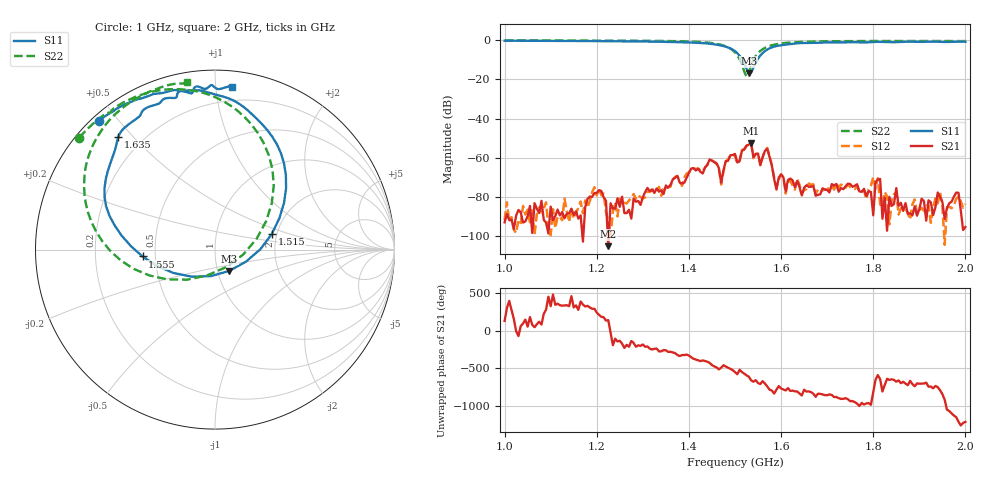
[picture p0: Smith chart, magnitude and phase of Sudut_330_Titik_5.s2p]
# Hz S RI R 50
! CMT, C1220, 16058040, 17.2.0/1
! Date: 14/08/2018 11:51:30
! Data: Format (Calibration Info)
! Freq  S11: Re/Im (F2)  S21: Re/Im (F2)  S12: Re/Im (F2)  S22: Re/Im (F2)
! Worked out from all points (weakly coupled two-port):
!   201 points, 1 GHz to 2 GHz, reference 50 ohm
!   highest |S21| = -52.52 dB at 1.535 GHz (marker M1); lowest = -105.1 dB at 1.225 GHz (marker M2)
!   lowest |S11| = -16.9 dB at 1.53 GHz (marker M3), VSWR 1.33, Z = 56.9 - j13.8 ohm
!   |S11| at or under -10 dB: 1.516 GHz to 1.549 GHz (32.94 MHz wide, 2.15 % of centre)
!   |S22| runs from -18.7 to -0.2 dB; largest |S21 - S12| = 0.00041
!   S11 on the Smith chart (normalised r, x): 1 GHz: 0.02, +0.44; 1.515 GHz: 1.88, +0.36; 1.555 GHz: 0.42, -0.04; 1.635 GHz: 0.11, +0.46; 2 GHz: 0.11, +1.11
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1e9  -0.6482 0.715  -1.45e-05 1.73e-05  2.45e-05 -8.51e-06  -0.7554 0.6238
1.17e9  -0.4703 0.8223  7.05e-06 -1.7e-06  2.25e-05 -3.11e-05  -0.6186 0.75
1.225e9  -0.3967 0.8466  -4.26e-06 3.57e-06  2.3e-05 6.96e-06  -0.5685 0.7825
1.335e9  -0.2072 0.8872  8.51e-06 0.000136  -3.3e-05 0.000178  -0.4018 0.8655
1.445e9  0.1587 0.795  0.000366 -0.000834  0.000273 -0.000805  -0.0107 0.8541
1.47e9  0.2906 0.6664  -0.000146 -0.00018  -0.000102 -0.000181  0.1617 0.7415
1.48e9  0.3462 0.5844  -0.000334 -0.000748  -0.000281 -0.00076  0.2367 0.6526
1.5e9  0.3961 0.3428  -0.00124 0.000172  -0.00114 0.000196  0.3273 0.3559
1.515e9  0.3162 0.0865  -0.00149 0.000208  -0.00158 0.000171  0.2321 0.0605
1.53e9  0.0802 -0.1184  -0.000759 0.00202  -0.000744 0.00204  -0.0441 -0.144
1.535e9  -0.0226 -0.1477  0.00107 0.00211  0.0011 0.00206  -0.1555 -0.1677
1.555e9  -0.4035 -0.0383  0.000627 0.000157  0.000621 0.000207  -0.5267 -0.059
1.57e9  -0.5584 0.1335  0.00158 -0.000518  0.00169 -0.000604  -0.6648 0.1049
1.59e9  -0.6152 0.3458  7.49e-05 -0.000135  0.000104 -0.000146  -0.7265 0.3
1.635e9  -0.5383 0.63  2.09e-05 -0.000254  4.26e-05 -0.000286  -0.6884 0.5625
1.67e9  -0.4332 0.7313  -7.83e-05 -0.000176  -7.85e-05 -0.000197  -0.6278 0.671
1.785e9  -0.2147 0.8483  -4.75e-05 9.37e-05  -1.47e-05 8.68e-05  -0.4475 0.8363
1.8e9  -0.209 0.8701  -4.08e-06 -3.39e-05  0.000177 0.000268  -0.4261 0.8489
1.815e9  -0.1867 0.8832  6.35e-05 0.00028  4.05e-05 -4.99e-05  -0.4052 0.8605
1.82e9  -0.1744 0.8818  2.01e-06 -2.79e-05  -3.73e-06 5.9e-05  -0.3982 0.864
1.835e9  -0.1382 0.8711  3.68e-05 9.4e-05  -1.73e-05 -9.95e-06  -0.3786 0.8737
2e9  0.0961 0.9036  -1.03e-05 -1.37e-05  -4.21e-05 -5.11e-05  -0.1533 0.9338
